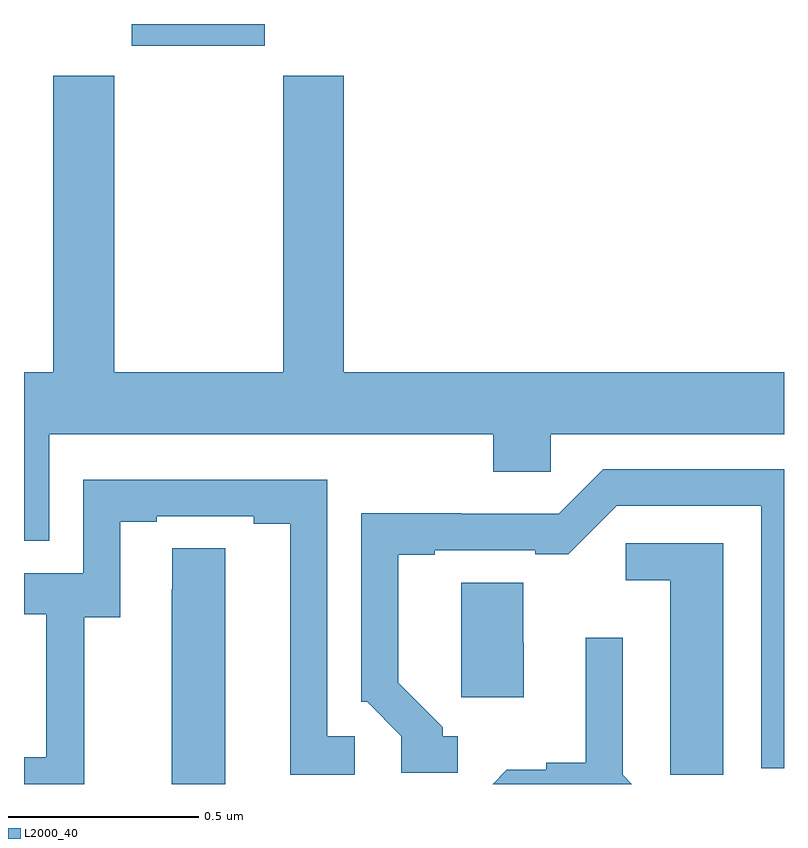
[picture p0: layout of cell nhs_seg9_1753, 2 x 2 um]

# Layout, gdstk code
import gdstk
lib = gdstk.Library(unit=1e-6, precision=1e-09)
def R(c, l, rs):  # rectangles x0, y0, x1, y1
    for r in rs: c.add(gdstk.rectangle(r[:2], r[2:], *l))
def P(c, l, *ps):  # polygons
    for p in ps: c.add(gdstk.Polygon(p, *l))
L2000_40 = (2000, 40)

nhs_seg9_1753 = lib.new_cell('nhs_seg9_1753')
R(nhs_seg9_1753, L2000_40, [(132.284,1197.443,132.634,1197.5)])
P(nhs_seg9_1753, L2000_40, [(132.682,1197.364),(132.682,1196.584),(132.237,1196.584),(132.237,1197.364),(132.077,1197.364),(132.077,1196.584),(132,1196.584),(132,1196.14),(132.067,1196.14),(132.067,1196.42),(133.235,1196.42),(133.235,1196.322),(133.386,1196.322),(133.386,1196.42),(134,1196.42),(134,1196.584),(132.842,1196.584),(132.842,1197.364)],
  [(133.141,1195.626),(133.102,1195.626),(133.102,1195.65),(132.985,1195.766),(132.985,1196.103),(133.081,1196.103),(133.081,1196.115),(133.346,1196.115),(133.346,1196.104),(133.432,1196.104),(133.56,1196.232),(133.94,1196.232),(133.94,1195.542),(134,1195.542),(134,1196.328),(133.524,1196.328),(133.407,1196.211),(133.151,1196.211),(133.151,1196.213),(132.888,1196.213),(132.888,1195.716),(132.903,1195.716),(132.993,1195.626),(132.993,1195.53),(133.141,1195.53)],
  [(132.159,1195.939),(132.253,1195.939),(132.253,1196.19),(132.349,1196.19),(132.349,1196.205),(132.605,1196.205),(132.605,1196.185),(132.701,1196.185),(132.701,1195.525),(132.871,1195.525),(132.871,1195.626),(132.798,1195.626),(132.798,1196.301),(132.156,1196.301),(132.156,1196.055),(132,1196.055),(132,1195.947),(132.059,1195.947),(132.059,1195.57),(132,1195.57),(132,1195.5),(132.159,1195.5)],
  [(133.84,1196.133),(133.584,1196.133),(133.584,1196.036),(133.7,1196.036),(133.7,1195.633),(133.701,1195.633),(133.701,1195.525),(133.84,1195.525)],
  [(132.529,1196.12),(132.39,1196.12),(132.39,1196.012),(132.389,1196.012),(132.389,1195.5),(132.529,1195.5)],
  [(133.315,1195.872),(133.314,1195.872),(133.314,1196.03),(133.151,1196.03),(133.151,1195.728),(133.315,1195.728)],
  [(133.575,1195.524),(133.575,1195.885),(133.478,1195.885),(133.478,1195.556),(133.374,1195.556),(133.374,1195.538),(133.271,1195.538),(133.233,1195.5),(133.599,1195.5)])

lib.write_gds('nhs_seg9_1753.gds')
